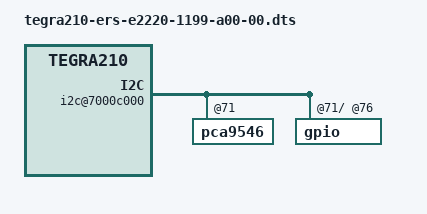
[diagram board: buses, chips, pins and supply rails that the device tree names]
/*
 * arch/arm64/boot/dts/tegra210-ers-e2220-1199-a00-00.dts
 *
 * Copyright (c) 20155555, NVIDIA CORPORATION.  All rights reserved.
 *
 * This program is free software; you can redistribute it and/or modify
 * it under the terms of the GNU General Public License as published by
 * the Free Software Foundation; version 2 of the License.
 *
 * This program is distributed in the hope that it will be useful, but WITHOUT
 * ANY WARRANTY; without even the implied warranty of MERCHANTABILITY or
 * FITNESS FOR A PARTICULAR PURPOSE.  See the GNU General Public License for
 * more details.
 *
 * You should have received a copy of the GNU General Public License along
 * with this program; if not, write to the Free Software Foundation, Inc.,
 * 51 Franklin Street, Fifth Floor, Boston, MA  02110-1301, USA.
 *
 */

#include "tegra210-ers-e2220-1170-a00-00-common.dts"
#include "tegra210-platforms/tegra210-ers-1199-emc.dtsi"

/ {
	chosen {
		nvidia,tegra-shield-sku;
        };

	sdhci@700b0200 {
		nvidia,is-ddr-tap-delay;
		nvidia,ddr-tap-delay = <0>;
		dqs-trim-delay = <40>;
		dqs-trim-delay-hs533 = <24>;
		max-clk-limit = <266000000>;
		bus-width = <8>;
		uhs-mask = <0x60>;
		built-in;
		vddio_sdmmc-supply = <&max77620_sd3>;
		vddio_sd_slot-supply = <&vdd_3v3>;
		nvidia,dll-calib-needed;
		nvidia,is-emmc;
	};
	i2c@7000c000 {
		pca9546@71 {
			i2c@3 {
				gpio@76 {
					pcie-mux {
						gpio-output-low = <12 14 15>;
						gpio-output-high = <5 6 11 13>;
					};
				};
			};
		};
	};
};
